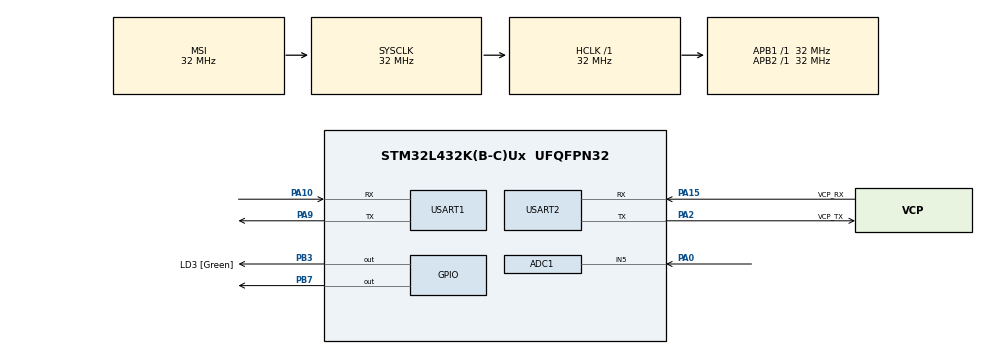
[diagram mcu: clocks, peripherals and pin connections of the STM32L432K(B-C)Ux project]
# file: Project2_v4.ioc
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ADC1.Channel-2\#ChannelRegularConversion=ADC_CHANNEL_5
ADC1.ClockPrescaler=ADC_CLOCK_ASYNC_DIV1
ADC1.ContinuousConvMode=DISABLE
ADC1.DMAContinuousRequests=ENABLE
ADC1.EnableAnalogWatchDog1=false
ADC1.ExternalTrigConv=ADC_EXTERNALTRIG_T6_TRGO
ADC1.NbrOfConversionFlag=1
ADC1.OffsetNumber-2\#ChannelRegularConversion=ADC_OFFSET_NONE
ADC1.Rank-2\#ChannelRegularConversion=1
ADC1.SamplingTime-2\#ChannelRegularConversion=ADC_SAMPLETIME_2CYCLES_5
ADC1.master=1
Dma.ADC1.0.Direction=DMA_PERIPH_TO_MEMORY
Dma.ADC1.0.Instance=DMA1_Channel1
Dma.ADC1.0.MemDataAlignment=DMA_MDATAALIGN_HALFWORD
Dma.ADC1.0.MemInc=DMA_MINC_ENABLE
Dma.ADC1.0.Mode=DMA_NORMAL
Dma.ADC1.0.PeriphDataAlignment=DMA_PDATAALIGN_HALFWORD
Dma.ADC1.0.PeriphInc=DMA_PINC_DISABLE
Dma.ADC1.0.Priority=DMA_PRIORITY_HIGH
Dma.Request0=ADC1
Mcu.Family=STM32L4
Mcu.Name=STM32L432K(B-C)Ux
Mcu.Package=UFQFPN32
NVIC.DMA1_Channel1_IRQn=true\:0\:0\:false\:false\:true\:false\:true\:true
NVIC.PriorityGroup=NVIC_PRIORITYGROUP_4
PA0.Signal=ADCx_IN5
PA10.Mode=Asynchronous
PA10.Signal=USART1_RX
PA13\ (JTMS-SWDIO).GPIO_Label=SWDIO
PA13\ (JTMS-SWDIO).Mode=Serial_Wire
PA13\ (JTMS-SWDIO).Signal=SYS_JTMS-SWDIO
PA14\ (JTCK-SWCLK).GPIO_Label=SWCLK
PA14\ (JTCK-SWCLK).Mode=Serial_Wire
PA14\ (JTCK-SWCLK).Signal=SYS_JTCK-SWCLK
PA15\ (JTDI).GPIO_Label=VCP_RX
PA15\ (JTDI).Mode=Asynchronous
PA15\ (JTDI).Signal=USART2_RX
PA2.GPIO_Label=VCP_TX
PA2.Mode=Asynchronous
PA2.Signal=USART2_TX
PA9.Mode=Asynchronous
PA9.Signal=USART1_TX
PB3\ (JTDO-TRACESWO).GPIO_Label=LD3 [Green]
PB3\ (JTDO-TRACESWO).Signal=GPIO_Output
PB7.Signal=GPIO_Output
PC14-OSC32_IN\ (PC14).Mode=LSE-External-Oscillator
PC14-OSC32_IN\ (PC14).Signal=RCC_OSC32_IN
PC15-OSC32_OUT\ (PC15).Mode=LSE-External-Oscillator
PC15-OSC32_OUT\ (PC15).Signal=RCC_OSC32_OUT
ProjectManager.HeapSize=0x200
ProjectManager.StackSize=0x400
ProjectManager.TargetToolchain=STM32CubeIDE
RCC.ADCCLockSelection=RCC_ADCCLKSOURCE_SYSCLK
RCC.ADCFreq_Value=32000000
RCC.AHBFreq_Value=32000000
RCC.APB1Freq_Value=32000000
RCC.APB1TimFreq_Value=32000000
RCC.APB2Freq_Value=32000000
RCC.APB2TimFreq_Value=32000000
RCC.CortexFreq_Value=32000000
RCC.HCLKFreq_Value=32000000
RCC.HSE_VALUE=8000000
RCC.HSI16_VALUE=16000000
RCC.HSI48_VALUE=48000000
RCC.HSI_VALUE=16000000
RCC.MSIClockRange=RCC_MSIRANGE_10
RCC.MSI_VALUE=32000000
RCC.PLLMUL=RCC_PLLMUL_4
RCC.PLLN=16
RCC.SYSCLKFreq_VALUE=32000000
RCC.USBFreq_Value=128000000
RCC.VCOOutputFreq_Value=512000000
SH.ADCx_IN5.0=ADC1_IN5,IN5-Single-Ended
TIM6.Period=9
TIM6.Prescaler=319
TIM6.TIM_MasterOutputTrigger=TIM_TRGO_UPDATE
USART1.VirtualMode-Asynchronous=VM_ASYNC
USART2.VirtualMode-Asynchronous=VM_ASYNC
VP_TIM6_VS_ClockSourceINT.Mode=Enable_Timer
board=NUCLEO-L432KC

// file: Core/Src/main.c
/* USER CODE BEGIN Header */
/**
  ******************************************************************************
  * @file           : main.c
  * @brief          : Main program body
  ******************************************************************************
  * @attention
  *
  * Copyright (c) 2025 STMicroelectronics.
  * All rights reserved.
  *
  * This software is licensed under terms that can be found in the LICENSE file
  * in the root directory of this software component.
  * If no LICENSE file comes with this software, it is provided AS-IS.
  *
  ******************************************************************************
  */
/* USER CODE END Header */
#include "main.h"

/* USER CODE BEGIN Includes */
#include <string.h>
#include <stdio.h>
#include <stdlib.h>
//#include "arm_math.h"
/* USER CODE END Includes */

ADC_HandleTypeDef hadc1;
DMA_HandleTypeDef hdma_adc1;

TIM_HandleTypeDef htim6;

UART_HandleTypeDef huart1;
UART_HandleTypeDef huart2;

/* USER CODE BEGIN PV */
#define ADC_BUFFER_SIZE 20000
uint16_t adc_dma_buf[ADC_BUFFER_SIZE];  // 512-sample circular buffer
int interrupt_count = 0;
int flag = 0;

#define VREF_mV 3300           // Reference voltage in millivolts
#define ADC_MAX 4095           // 12-bit ADC max value
#define SAMPLING_RATE 5000.0    // Hz
/* USER CODE END PV */

void SystemClock_Config(void);
static void MX_GPIO_Init(void);
static void MX_DMA_Init(void);
static void MX_USART2_UART_Init(void);
static void MX_ADC1_Init(void);
static void MX_TIM6_Init(void);
static void MX_USART1_UART_Init(void);

int main(void)
{

  /* MCU Configuration--------------------------------------------------------*/

  /* Reset of all peripherals, Initializes the Flash interface and the Systick. */
  HAL_Init();

  /* Configure the system clock */
  SystemClock_Config();

  /* Initialize all configured peripherals */
  MX_GPIO_Init();
  MX_DMA_Init();
  MX_USART2_UART_Init();
  MX_ADC1_Init();
  MX_TIM6_Init();
  MX_USART1_UART_Init();
  /* USER CODE BEGIN 2 */
  HAL_ADC_Start_DMA(&hadc1, (uint32_t*)adc_dma_buf, ADC_BUFFER_SIZE);
  HAL_TIM_Base_Start(&htim6);  // Start TIM6 (trigger source)
  /* USER CODE END 2 */

  /* Infinite loop */
  /* USER CODE BEGIN WHILE */
  HAL_GPIO_WritePin(GPIOB, GPIO_PIN_3, GPIO_PIN_SET);
  while (!flag)
  {
    /* USER CODE END WHILE */

    /* USER CODE BEGIN 3 */
  }
  HAL_GPIO_WritePin(GPIOB, GPIO_PIN_3, GPIO_PIN_RESET);
  HAL_GPIO_WritePin(GPIOB, GPIO_PIN_7, GPIO_PIN_SET);

  uint32_t sum = 0;
  uint16_t max_adc = 0;
  uint16_t min_adc = ADC_MAX;

  uint16_t centre = 1623;
  uint16_t threshold = 50;
  uint16_t lower = centre - threshold;
  uint16_t upper = centre + threshold;
  uint16_t rise = 0;
  uint16_t fall = 0;
  float prev_v = 0;

	for (int i = 0; i < ADC_BUFFER_SIZE; i++)
	{

		float voltage = ( (float)adc_dma_buf[i] * 3300.0f ) / 4095.0f;
//		printf("VOLT: %.2f\r\n", voltage);
//		voltage_array[i] = voltage;

		//	 printf("ADC[%d] = %u\r\n", i, adc_dma_buf[i]);
		sum += adc_dma_buf[i];

		if (adc_dma_buf[i] > max_adc)
		{
			  max_adc = adc_dma_buf[i];
		}

		if (adc_dma_buf[i] < min_adc)
		{
			  min_adc = adc_dma_buf[i];
		}

		if (prev_v < lower && voltage > upper)
		{
			rise ++;
		}

		if (voltage < lower && prev_v > upper)
		{
			fall ++;
		}

		prev_v = voltage;

	}

	printf("START\r\n");
	HAL_UART_Transmit(&huart2, (uint8_t*)adc_dma_buf, ADC_BUFFER_SIZE * sizeof(uint16_t), HAL_MAX_DELAY);

	// 3. Only AFTER full transmission, printf summary
	float adc_avg = (float)sum / ADC_BUFFER_SIZE;
	float v_avg = (adc_avg * VREF_mV) / ADC_MAX;
	float max_v = (max_adc * VREF_mV) / ADC_MAX;
	float min_v = (min_adc * VREF_mV) / ADC_MAX;
	float pp = max_v - min_v;
	uint16_t sum_edge = rise + fall;

	printf("ADC_AVG: %.2f\r\n", adc_avg);
	printf("ADC_MAX: %u\r\n", max_adc);
	printf("ADC_MIN: %u\r\n", min_adc);

	printf("VOLT_AVG: %.2f\r\n", v_avg);
	printf("VOLT_MAX: %.2f\r\n", max_v);
	printf("VOLT_MIN: %.2f\r\n", min_v);
	printf("PP: %.2f\r\n", pp);

	printf("RISE_EDGE: %u\r\n", rise);
	printf("FALL_EDGE: %u\r\n", fall);

	HAL_GPIO_WritePin(GPIOB, GPIO_PIN_7, GPIO_PIN_RESET);

	// CLASSIFICATION
	// C
	// E
	// CON1 10,10
	// CON2 10,30
	// CON3 30,10
	// CON4 30,30
	if (sum_edge >= 7)
	{
		// COIN
		printf("C\r\n");

		if (sum_edge > 44)
		{
			if (pp > 2900)
			{
				printf("CON2\r\n");
			}

			else
			{
				printf("CON1\r\n");
			}

		}

		else
		{
			if (pp > 2050)
			{
				printf("CON4\r\n");
			}

			else
			{
				printf("CON3\r\n");

			}
		}
	}

	else if (sum_edge < 7)
	{
		printf("E\r\n");

		if (pp < 1000)
		{
			printf("CON3\r\n");

		}

		else if (pp >= 1000 && pp < 2100)
		{
			if (max_v > 1800)
			{
				printf("CON1\r\n");
			}

			else
			{
				printf("CON4\r\n");
			}
		}

		else
		{
			printf("CON2\r\n");

		}
	}

  /* USER CODE END 3 */
}

void SystemClock_Config(void)
{
  RCC_OscInitTypeDef RCC_OscInitStruct = {0};
  RCC_ClkInitTypeDef RCC_ClkInitStruct = {0};

  /** Configure the main internal regulator output voltage
  */
  if (HAL_PWREx_ControlVoltageScaling(PWR_REGULATOR_VOLTAGE_SCALE1) != HAL_OK)
  {
    Error_Handler();
  }

  /** Configure LSE Drive Capability
  */
  HAL_PWR_EnableBkUpAccess();
  __HAL_RCC_LSEDRIVE_CONFIG(RCC_LSEDRIVE_LOW);

  /** Initializes the RCC Oscillators according to the specified parameters
  * in the RCC_OscInitTypeDef structure.
  */
  RCC_OscInitStruct.OscillatorType = RCC_OSCILLATORTYPE_LSE|RCC_OSCILLATORTYPE_MSI;
  RCC_OscInitStruct.LSEState = RCC_LSE_ON;
  RCC_OscInitStruct.MSIState = RCC_MSI_ON;
  RCC_OscInitStruct.MSICalibrationValue = 0;
  RCC_OscInitStruct.MSIClockRange = RCC_MSIRANGE_10;
  RCC_OscInitStruct.PLL.PLLState = RCC_PLL_NONE;
  if (HAL_RCC_OscConfig(&RCC_OscInitStruct) != HAL_OK)
  {
    Error_Handler();
  }

  /** Initializes the CPU, AHB and APB buses clocks
  */
  RCC_ClkInitStruct.ClockType = RCC_CLOCKTYPE_HCLK|RCC_CLOCKTYPE_SYSCLK
                              |RCC_CLOCKTYPE_PCLK1|RCC_CLOCKTYPE_PCLK2;
  RCC_ClkInitStruct.SYSCLKSource = RCC_SYSCLKSOURCE_MSI;
  RCC_ClkInitStruct.AHBCLKDivider = RCC_SYSCLK_DIV1;
  RCC_ClkInitStruct.APB1CLKDivider = RCC_HCLK_DIV1;
  RCC_ClkInitStruct.APB2CLKDivider = RCC_HCLK_DIV1;

  if (HAL_RCC_ClockConfig(&RCC_ClkInitStruct, FLASH_LATENCY_1) != HAL_OK)
  {
    Error_Handler();
  }

  /** Enable MSI Auto calibration
  */
  HAL_RCCEx_EnableMSIPLLMode();
}

static void MX_ADC1_Init(void)
{

  ADC_ChannelConfTypeDef sConfig = {0};

  /** Common config
  */
  hadc1.Instance = ADC1;
  hadc1.Init.ClockPrescaler = ADC_CLOCK_ASYNC_DIV1;
  hadc1.Init.Resolution = ADC_RESOLUTION_12B;
  hadc1.Init.DataAlign = ADC_DATAALIGN_RIGHT;
  hadc1.Init.ScanConvMode = ADC_SCAN_DISABLE;
  hadc1.Init.EOCSelection = ADC_EOC_SINGLE_CONV;
  hadc1.Init.LowPowerAutoWait = DISABLE;
  hadc1.Init.ContinuousConvMode = DISABLE;
  hadc1.Init.NbrOfConversion = 1;
  hadc1.Init.DiscontinuousConvMode = DISABLE;
  hadc1.Init.ExternalTrigConv = ADC_EXTERNALTRIG_T6_TRGO;
  hadc1.Init.ExternalTrigConvEdge = ADC_EXTERNALTRIGCONVEDGE_RISING;
  hadc1.Init.DMAContinuousRequests = ENABLE;
  hadc1.Init.Overrun = ADC_OVR_DATA_PRESERVED;
  hadc1.Init.OversamplingMode = DISABLE;
  if (HAL_ADC_Init(&hadc1) != HAL_OK)
  {
    Error_Handler();
  }

  /** Configure Regular Channel
  */
  sConfig.Channel = ADC_CHANNEL_5;
  sConfig.Rank = ADC_REGULAR_RANK_1;
  sConfig.SamplingTime = ADC_SAMPLETIME_2CYCLES_5;
  sConfig.SingleDiff = ADC_SINGLE_ENDED;
  sConfig.OffsetNumber = ADC_OFFSET_NONE;
  sConfig.Offset = 0;
  if (HAL_ADC_ConfigChannel(&hadc1, &sConfig) != HAL_OK)
  {
    Error_Handler();
  }

}

static void MX_TIM6_Init(void)
{

  TIM_MasterConfigTypeDef sMasterConfig = {0};

  htim6.Instance = TIM6;
  htim6.Init.Prescaler = 319;
  htim6.Init.CounterMode = TIM_COUNTERMODE_UP;
  htim6.Init.Period = 9;
  htim6.Init.AutoReloadPreload = TIM_AUTORELOAD_PRELOAD_DISABLE;
  if (HAL_TIM_Base_Init(&htim6) != HAL_OK)
  {
    Error_Handler();
  }
  sMasterConfig.MasterOutputTrigger = TIM_TRGO_UPDATE;
  sMasterConfig.MasterSlaveMode = TIM_MASTERSLAVEMODE_DISABLE;
  if (HAL_TIMEx_MasterConfigSynchronization(&htim6, &sMasterConfig) != HAL_OK)
  {
    Error_Handler();
  }

}

static void MX_USART1_UART_Init(void)
{

  huart1.Instance = USART1;
  huart1.Init.BaudRate = 115200;
  huart1.Init.WordLength = UART_WORDLENGTH_8B;
  huart1.Init.StopBits = UART_STOPBITS_1;
  huart1.Init.Parity = UART_PARITY_NONE;
  huart1.Init.Mode = UART_MODE_TX_RX;
  huart1.Init.HwFlowCtl = UART_HWCONTROL_NONE;
  huart1.Init.OverSampling = UART_OVERSAMPLING_16;
  huart1.Init.OneBitSampling = UART_ONE_BIT_SAMPLE_DISABLE;
  huart1.AdvancedInit.AdvFeatureInit = UART_ADVFEATURE_NO_INIT;
  if (HAL_UART_Init(&huart1) != HAL_OK)
  {
    Error_Handler();
  }

}

static void MX_USART2_UART_Init(void)
{

  huart2.Instance = USART2;
  huart2.Init.BaudRate = 115200;
  huart2.Init.WordLength = UART_WORDLENGTH_8B;
  huart2.Init.StopBits = UART_STOPBITS_1;
  huart2.Init.Parity = UART_PARITY_NONE;
  huart2.Init.Mode = UART_MODE_TX_RX;
  huart2.Init.HwFlowCtl = UART_HWCONTROL_NONE;
  huart2.Init.OverSampling = UART_OVERSAMPLING_16;
  huart2.Init.OneBitSampling = UART_ONE_BIT_SAMPLE_DISABLE;
  huart2.AdvancedInit.AdvFeatureInit = UART_ADVFEATURE_NO_INIT;
  if (HAL_UART_Init(&huart2) != HAL_OK)
  {
    Error_Handler();
  }

}

static void MX_DMA_Init(void)
{

  /* DMA controller clock enable */
  __HAL_RCC_DMA1_CLK_ENABLE();

  /* DMA interrupt init */
  /* DMA1_Channel1_IRQn interrupt configuration */
  HAL_NVIC_SetPriority(DMA1_Channel1_IRQn, 0, 0);
  HAL_NVIC_EnableIRQ(DMA1_Channel1_IRQn);

}

static void MX_GPIO_Init(void)
{
  GPIO_InitTypeDef GPIO_InitStruct = {0};

  /* GPIO Ports Clock Enable */
  __HAL_RCC_GPIOC_CLK_ENABLE();
  __HAL_RCC_GPIOA_CLK_ENABLE();
  __HAL_RCC_GPIOB_CLK_ENABLE();

  /*Configure GPIO pin Output Level */
  HAL_GPIO_WritePin(GPIOB, LD3_Pin|GPIO_PIN_7, GPIO_PIN_RESET);

  /*Configure GPIO pins : LD3_Pin PB7 */
  GPIO_InitStruct.Pin = LD3_Pin|GPIO_PIN_7;
  GPIO_InitStruct.Mode = GPIO_MODE_OUTPUT_PP;
  GPIO_InitStruct.Pull = GPIO_NOPULL;
  GPIO_InitStruct.Speed = GPIO_SPEED_FREQ_LOW;
  HAL_GPIO_Init(GPIOB, &GPIO_InitStruct);

}

/* USER CODE BEGIN 4 */
int __io_putchar(int ch) {
    HAL_UART_Transmit(&huart2, (uint8_t *)&ch, 1, HAL_MAX_DELAY);
    return ch;
}

void HAL_ADC_ConvHalfCpltCallback(ADC_HandleTypeDef* hadc)
{
    if (hadc->Instance == ADC1)
    {
//    	for (int i = 0; i < ADC_BUFFER_SIZE / 2; i += 32)  // only print every 32nd sample
//		{
//			char msg[32];
//			int len = sprintf(msg, "ADC: %u\r\n", adc_dma_buf[i]);
//			HAL_UART_Transmit(&huart2, (uint8_t*)msg, len, HAL_MAX_DELAY);
//		}
    }
}
void HAL_ADC_ConvCpltCallback(ADC_HandleTypeDef* hadc)
{
    if (hadc->Instance == ADC1)
    {
//    	for (int i = 0; i < ADC_BUFFER_SIZE / 2; i += 32)  // only print every 32nd sample
//		{
//			char msg[32];
//			int len = sprintf(msg, "ADC: %u\r\n", adc_dma_buf[i]);
//			HAL_UART_Transmit(&huart2, (uint8_t*)msg, len, HAL_MAX_DELAY);
//		}
    	flag = 1;
    }
}
/* USER CODE END 4 */

void Error_Handler(void)
{
  __disable_irq();
  while (1)
  {
  }
}
